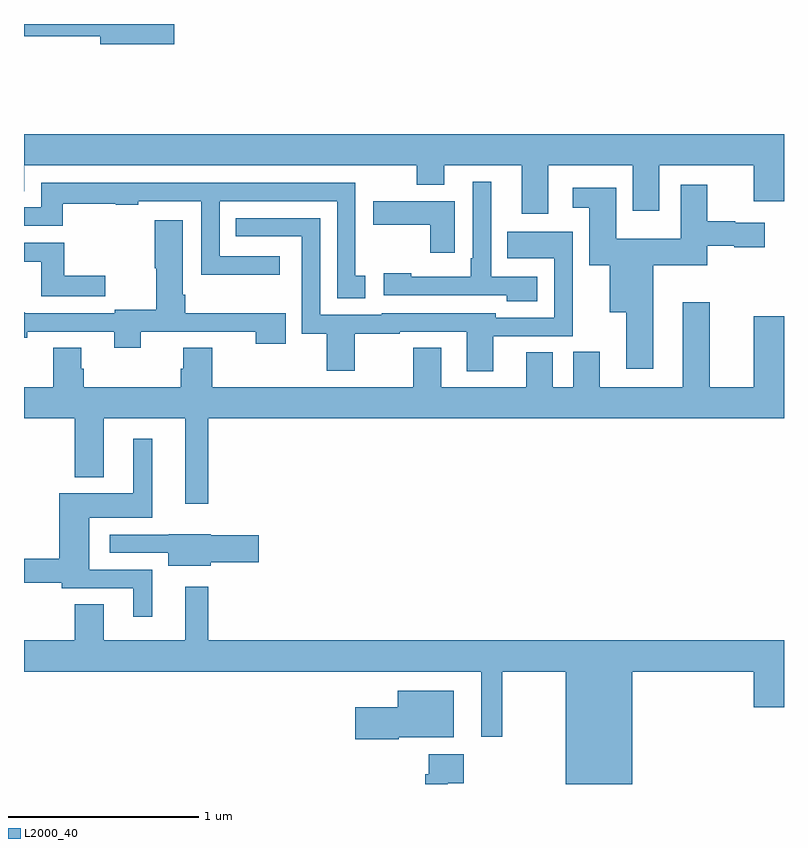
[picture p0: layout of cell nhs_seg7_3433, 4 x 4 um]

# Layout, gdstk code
import gdstk
lib = gdstk.Library(unit=1e-6, precision=1e-09)
def P(c, l, *ps):  # polygons
    for p in ps: c.add(gdstk.Polygon(p, *l))
L2000_40 = (2000, 40)

nhs_seg7_3433 = lib.new_cell('nhs_seg7_3433')
P(nhs_seg7_3433, L2000_40, [(329.791,1028),(329,1028),(329,1027.936),(329.402,1027.936),(329.402,1027.894),(329.791,1027.894)],
  [(331.759,1027.256),(332.204,1027.256),(332.204,1027.017),(332.344,1027.017),(332.344,1027.256),(332.84,1027.256),(332.84,1027.068),(333,1027.068),(333,1027.42),(329,1027.42),(329,1027.12),(329.002,1027.12),(329.002,1027.256),(331.066,1027.256),(331.066,1027.154),(331.213,1027.154),(331.213,1027.256),(331.619,1027.256),(331.619,1027.002),(331.759,1027.002)],
  [(331.702,1026.669),(331.458,1026.669),(331.458,1027.171),(331.362,1027.171),(331.362,1026.766),(331.35,1026.766),(331.35,1026.669),(331.038,1026.669),(331.038,1026.688),(330.894,1026.688),(330.894,1026.573),(331.541,1026.573),(331.541,1026.542),(331.702,1026.542)],
  [(330.796,1026.675),(330.744,1026.675),(330.744,1027.164),(329.091,1027.164),(329.091,1027.035),(329,1027.035),(329,1026.939),(329.203,1026.939),(329.203,1027.055),(329.484,1027.055),(329.484,1027.048),(329.6,1027.048),(329.6,1027.068),(329.934,1027.068),(329.934,1026.68),(330.346,1026.68),(330.346,1026.777),(330.03,1026.777),(330.03,1027.068),(330.648,1027.068),(330.648,1026.556),(330.796,1026.556)],
  [(332.311,1026.731),(332.596,1026.731),(332.596,1026.833),(332.739,1026.833),(332.739,1026.826),(332.899,1026.826),(332.899,1026.955),(332.744,1026.955),(332.744,1026.963),(332.596,1026.963),(332.596,1027.153),(332.456,1027.153),(332.456,1026.871),(332.116,1026.871),(332.116,1027.138),(331.887,1027.138),(331.887,1027.034),(331.976,1027.034),(331.976,1026.731),(332.084,1026.731),(332.084,1026.482),(332.171,1026.482),(332.171,1026.186),(332.311,1026.186)],
  [(331.267,1027.066),(330.837,1027.066),(330.837,1026.944),(331.138,1026.944),(331.138,1026.795),(331.267,1026.795)],
  [(331.471,1026.357),(331.889,1026.357),(331.889,1026.907),(331.543,1026.907),(331.543,1026.767),(331.791,1026.767),(331.791,1026.453),(331.482,1026.453),(331.482,1026.477),(330.882,1026.477),(330.882,1026.471),(330.558,1026.471),(330.558,1026.978),(330.115,1026.978),(330.115,1026.882),(330.462,1026.882),(330.462,1026.37),(330.593,1026.37),(330.593,1026.174),(330.741,1026.174),(330.741,1026.37),(330.978,1026.37),(330.978,1026.381),(331.331,1026.381),(331.331,1026.173),(331.471,1026.173)],
  [(329.614,1026.381),(330.221,1026.381),(330.221,1026.318),(330.377,1026.318),(330.377,1026.477),(330.269,1026.477),(330.269,1026.478),(329.849,1026.478),(329.849,1026.574),(329.836,1026.574),(329.836,1026.967),(329.689,1026.967),(329.689,1026.714),(329.696,1026.714),(329.696,1026.497),(329.478,1026.497),(329.478,1026.477),(329.004,1026.477),(329.004,1026.482),(329,1026.482),(329,1026.35),(329.016,1026.35),(329.016,1026.381),(329.474,1026.381),(329.474,1026.296),(329.614,1026.296)],
  [(329.428,1026.676),(329.212,1026.676),(329.212,1026.849),(329,1026.849),(329,1026.748),(329.091,1026.748),(329.091,1026.567),(329.428,1026.567)],
  [(329.971,1025.924),(333,1025.924),(333,1026.463),(332.84,1026.463),(332.84,1026.088),(332.608,1026.088),(332.608,1026.535),(332.468,1026.535),(332.468,1026.088),(332.029,1026.088),(332.029,1026.276),(331.89,1026.276),(331.89,1026.088),(331.783,1026.088),(331.783,1026.272),(331.643,1026.272),(331.643,1026.088),(331.195,1026.088),(331.195,1026.295),(331.048,1026.295),(331.048,1026.088),(329.99,1026.088),(329.99,1026.296),(329.837,1026.296),(329.837,1026.186),(329.825,1026.186),(329.825,1026.088),(329.315,1026.088),(329.315,1026.186),(329.302,1026.186),(329.302,1026.296),(329.155,1026.296),(329.155,1026.088),(329,1026.088),(329,1025.924),(329.267,1025.924),(329.267,1025.615),(329.419,1025.615),(329.419,1025.924),(329.849,1025.924),(329.849,1025.475),(329.971,1025.475)],
  [(329.674,1025.127),(329.344,1025.127),(329.344,1025.402),(329.674,1025.402),(329.674,1025.818),(329.576,1025.818),(329.576,1025.53),(329.186,1025.53),(329.186,1025.186),(329,1025.186),(329,1025.058),(329.198,1025.058),(329.198,1025.031),(329.576,1025.031),(329.576,1024.881),(329.674,1024.881)],
  [(329.982,1025.167),(330.235,1025.167),(330.235,1025.309),(329.982,1025.309),(329.982,1025.314),(329.763,1025.314),(329.763,1025.313),(329.451,1025.313),(329.451,1025.217),(329.759,1025.217),(329.759,1025.15),(329.982,1025.15)],
  [(329.971,1025.038),(329.849,1025.038),(329.849,1024.756),(329.419,1024.756),(329.419,1024.946),(329.267,1024.946),(329.267,1024.756),(329,1024.756),(329,1024.592),(331.406,1024.592),(331.406,1024.248),(331.516,1024.248),(331.516,1024.592),(331.85,1024.592),(331.85,1024),(332.2,1024),(332.2,1024.592),(332.84,1024.592),(332.84,1024.404),(333,1024.404),(333,1024.756),(329.971,1024.756)],
  [(330.972,1024.247),(331.261,1024.247),(331.261,1024.492),(330.968,1024.492),(330.968,1024.405),(330.744,1024.405),(330.744,1024.235),(330.972,1024.235)],
  [(331.229,1024.004),(331.315,1024.004),(331.315,1024.156),(331.131,1024.156),(331.131,1024.052),(331.111,1024.052),(331.111,1024),(331.229,1024)])

lib.write_gds('nhs_seg7_3433.gds')
